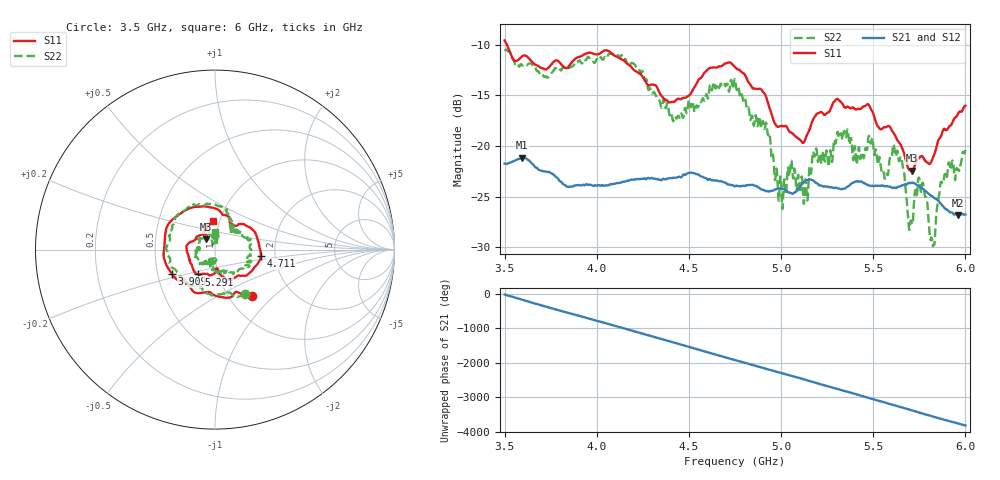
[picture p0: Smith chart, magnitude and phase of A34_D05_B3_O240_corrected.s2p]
! Created with skrf 1.9.0 (http://scikit-rf.org).
# Hz S RI R 50.0
!freq ReS11 ImS11 ReS21 ImS21 ReS12 ImS12 ReS22 ImS22
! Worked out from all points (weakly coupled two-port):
!   1601 points, 3.5 GHz to 6 GHz, reference 50 ohm
!   highest |S21| = -21.14 dB at 3.592 GHz (marker M1); lowest = -26.8 dB at 5.959 GHz (marker M2)
!   lowest |S11| = -22.4 dB at 5.709 GHz (marker M3), VSWR 1.16, Z = 45 + j5.21 ohm
!   |S11| at or under -10 dB: 3.512 GHz to end of sweep
!   |S22| runs from -29.9 to -10.5 dB; largest |S21 - S12| = 0.00091
!   S11 on the Smith chart (normalised r, x): 3.5 GHz: 1.27, -0.74; 3.909 GHz: 0.59, -0.17; 4.711 GHz: 1.68, -0.13; 5.291 GHz: 0.80, -0.23; 6 GHz: 0.94, +0.30
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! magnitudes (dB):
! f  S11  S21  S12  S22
! 3.5 GHz  -9.6  -21.7  -21.7  -10.5
! 3.592 GHz  -11.2  -21.1  -21.1  -11.9
! 3.909 GHz  -11.2  -23.9  -23.8  -11.6
! 3.917 GHz  -11.1  -23.9  -23.9  -11.8
! 4.128 GHz  -11.4  -23.6  -23.6  -11.2
! 4.334 GHz  -14.5  -23.3  -23.2  -15.4
! 4.711 GHz  -11.8  -23.8  -23.8  -14.0
! 4.75 GHz  -12.2  -24.0  -23.9  -13.5
! 4.928 GHz  -15.7  -24.4  -24.4  -18.9
! 4.997 GHz  -18.0  -24.2  -24.2  -23.0
! 5.048 GHz  -18.6  -24.6  -24.6  -22.4
! 5.133 GHz  -19.3  -23.4  -23.4  -23.3
! 5.167 GHz  -17.7  -23.4  -23.3  -21.7
! 5.291 GHz  -15.6  -24.1  -24.1  -19.4
! 5.584 GHz  -18.0  -24.0  -24.0  -22.1
! 5.642 GHz  -19.7  -24.0  -24.0  -21.5
! 5.709 GHz  -22.4  -23.6  -23.6  -27.6
! 5.758 GHz  -21.0  -24.1  -24.1  -24.4
! 5.823 GHz  -21.2  -25.0  -25.0  -29.9
! 5.875 GHz  -18.7  -25.9  -25.8  -23.7
! 5.959 GHz  -16.8  -26.8  -26.7  -22.4
! 6 GHz  -16.0  -26.8  -26.7  -20.4
